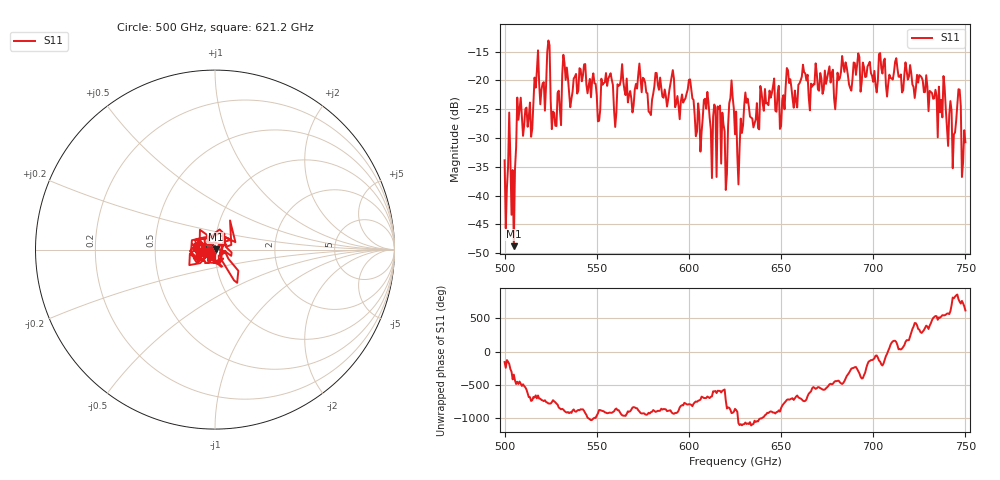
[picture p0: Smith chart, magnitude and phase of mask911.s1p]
!Created with skrf (http://scikit-rf.org).
# GHz S MA R 50.0
!freq magS11 angS11
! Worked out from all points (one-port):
!   401 points, 500 GHz to 750 GHz, reference 50 ohm
!   lowest |S11| = -48.8 dB at 505 GHz (marker M1), VSWR 1.01, Z = 50.3 + j0.103 ohm
!   |S11| at or under -10 dB: start of sweep to end of sweep
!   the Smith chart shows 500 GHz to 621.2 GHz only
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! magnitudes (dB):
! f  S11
! 500 GHz  -33.9
! 505 GHz  -48.8
! 508.1 GHz  -25.0
! 513.8 GHz  -23.8
! 517.5 GHz  -18.3
! 520.6 GHz  -20.5
! 523.8 GHz  -13.1
! 526.9 GHz  -25.6
! 531.2 GHz  -19.0
! 542.5 GHz  -19.1
! 550.6 GHz  -27.1
! 562.5 GHz  -20.8
! 590.6 GHz  -19.4
! 593.8 GHz  -22.7
! 600.6 GHz  -19.8
! 605 GHz  -24.0
! 609.4 GHz  -24.9
! 620 GHz  -39.0
! 622.5 GHz  -23.1
! 625 GHz  -29.4
! 627.5 GHz  -31.6
! 631.2 GHz  -23.9
! 656.2 GHz  -23.2
! 687.5 GHz  -21.3
! 718.8 GHz  -19.9
! 743.8 GHz  -29.4
! 746.2 GHz  -21.5
! 750 GHz  -30.7
